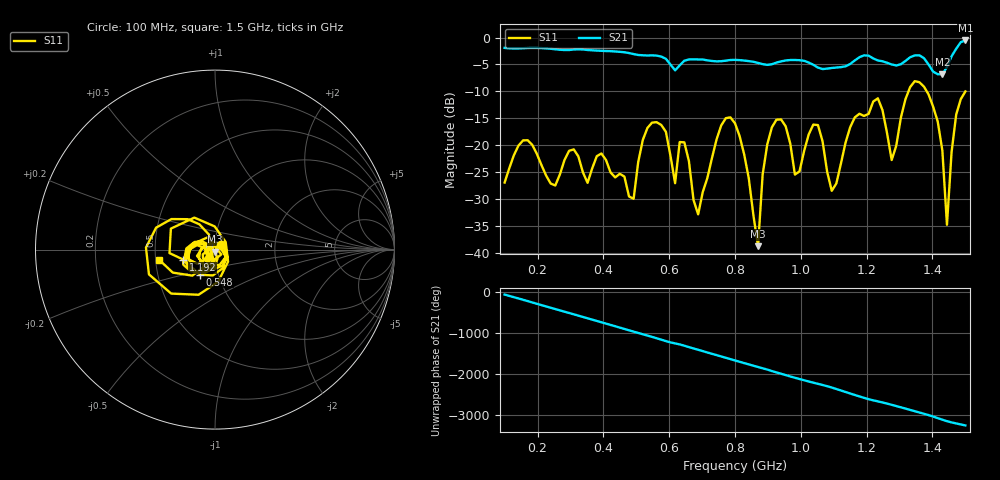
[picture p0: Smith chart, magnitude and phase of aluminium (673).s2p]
! NanoVNA-App
! Date: 2025-09-25 15:00:31
! Start: 100MHz Stop: 1,5GHz Points: 101
! S-Parameter data: F S11 S21 S12 S22
# Hz S RI R 50
!  Frequency  S11_Real  S11_Imag  S21_Real  S21_Imag  S12_Real  S12_Imag  S22_Real  S22_Imag
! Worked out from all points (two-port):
!   101 points, 100 MHz to 1.5 GHz, reference 50 ohm
!   highest |S21| = -0.54 dB at 1.5 GHz (marker M1); lowest = -6.8 dB at 1.43 GHz (marker M2)
!   |S21| within 3 dB of the highest: start of sweep to 575.9 MHz; 1.458 GHz to end of sweep (the widest 2 of 4)
!   lowest |S11| = -38.8 dB at 870 MHz (marker M3), VSWR 1.02, Z = 50.1 - j1.15 ohm
!   |S11| at or under -10 dB: start of sweep to 1.327 GHz; 1.383 GHz to end of sweep
!   S12 and S22 are empty: the file has one direction only
!   S11 on the Smith chart (normalised r, x): 100 MHz: 1.07, +0.06; 548 MHz: 0.82, -0.23; 1.192 GHz: 0.69, -0.08; 1.5 GHz: 0.52, -0.07
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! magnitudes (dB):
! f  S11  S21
! 100 MHz  -27.0  -1.9
! 156 MHz  -19.1  -2.0
! 338 MHz  -25.1  -2.2
! 492 MHz  -30.0  -3.1
! 548 MHz  -15.8  -3.3
! 576 MHz  -16.3  -3.5
! 646 MHz  -19.5  -4.3
! 688 MHz  -32.9  -4.1
! 800 MHz  -15.9  -4.1
! 870 MHz  -38.8  -4.7
! 912 MHz  -16.7  -5.0
! 982 MHz  -25.5  -4.2
! 1.038 GHz  -16.2  -5.1
! 1.094 GHz  -28.5  -5.7
! 1.192 GHz  -14.6  -3.3
! 1.234 GHz  -11.3  -4.3
! 1.276 GHz  -22.8  -5.0
! 1.346 GHz  -8.1  -3.3
! 1.43 GHz  -21.0  -6.8
! 1.444 GHz  -34.8  -5.5
! 1.472 GHz  -14.3  -2.1
! 1.5 GHz  -10.0  -0.5
